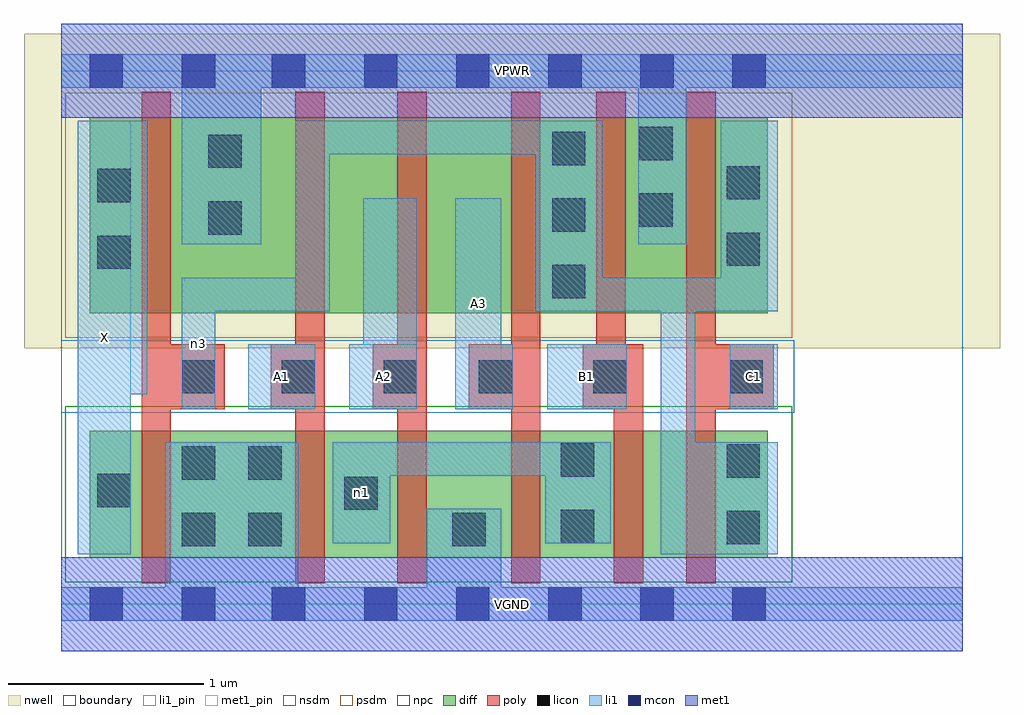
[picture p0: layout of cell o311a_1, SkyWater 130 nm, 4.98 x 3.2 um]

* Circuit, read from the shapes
.subckt o311a_1 A1 A2 A3 B1 C1 VGND VPWR X n1 n3
XM1 VGND n3 X VSUBS sky130_fd_pr__nfet_01v8 w=0.65 l=0.15
XM2 n1 A1 VGND VSUBS sky130_fd_pr__nfet_01v8 w=0.65 l=0.15
XM3 VGND A2 n1 VSUBS sky130_fd_pr__nfet_01v8 w=0.65 l=0.15
XM4 n1 A3 VGND VSUBS sky130_fd_pr__nfet_01v8 w=0.65 l=0.15
XM5 n2 B1 n1 VSUBS sky130_fd_pr__nfet_01v8 w=0.65 l=0.15
XM6 n3 C1 n2 VSUBS sky130_fd_pr__nfet_01v8 w=0.65 l=0.15
XM7 VPWR n3 X n4 sky130_fd_pr__pfet_01v8 w=1 l=0.15
XM8 n5 A1 VPWR n4 sky130_fd_pr__pfet_01v8 w=1 l=0.15
XM9 n6 A2 n5 n4 sky130_fd_pr__pfet_01v8 w=1 l=0.15
XM10 n3 A3 n6 n4 sky130_fd_pr__pfet_01v8 w=1 l=0.15
XM11 VPWR B1 n3 n4 sky130_fd_pr__pfet_01v8 w=1 l=0.15
XM12 n3 C1 VPWR n4 sky130_fd_pr__pfet_01v8 w=1 l=0.15
.ends

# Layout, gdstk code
import gdstk
lib = gdstk.Library(unit=1e-6, precision=1e-09)
def R(c, l, rs):  # rectangles x0, y0, x1, y1
    for r in rs: c.add(gdstk.rectangle(r[:2], r[2:], *l))
def A(c, l, x, y, w, h, nx, ny, dx, dy):  # array of equal rectangles
    R(c, l, [(x+i*dx, y+j*dy, x+i*dx+w, y+j*dy+h) for i in range(nx) for j in range(ny)])
nwell = (64, 20)
diff = (65, 20)
poly = (66, 20)
licon = (66, 44)
li1_pin = (67, 16)
li1 = (67, 20)
mcon = (67, 44)
met1_pin = (68, 16)
met1 = (68, 20)
nsdm = (93, 44)
psdm = (94, 20)
npc = (95, 20)
boundary = (235, 4)

o311a_1 = lib.new_cell('o311a_1')
R(o311a_1, nwell, [(-0.19,1.305,4.79,2.91), (0,1.305,4.6,2.91)])
R(o311a_1, diff, [(0.145,0.235,3.605,0.885), (0.145,1.485,3.605,2.485)])
R(o311a_1, poly, [(0.41,0.105,0.56,2.615), (1.195,0.105,1.345,2.615), (1.715,0.105,1.865,2.615), (2.295,0.105,2.445,2.615), (2.82,0.105,2.97,1.325), (3.19,0.105,3.34,2.615), (0.41,0.995,0.835,1.325), (1.07,0.995,1.345,1.325), (1.59,0.995,1.865,1.325), (2.08,0.995,2.445,1.325), (2.66,0.995,2.97,1.325), (2.73,0.995,2.88,2.615), (3.19,0.995,3.635,1.325)])
A(o311a_1, licon, 2.505, 1.56, 0.17, 0.17, 1, 3, 0, 0.34)
R(o311a_1, licon, [(0.615,0.295,0.785,0.465), (0.955,0.295,1.125,0.465), (1.995,0.295,2.165,0.465), (3.395,0.305,3.565,0.475), (2.55,0.31,2.72,0.48), (1.445,0.48,1.615,0.65), (0.185,0.495,0.355,0.665), (0.615,0.635,0.785,0.805), (0.955,0.635,1.125,0.805), (3.395,0.645,3.565,0.815), (2.55,0.65,2.72,0.82), (0.615,1.075,0.785,1.245), (1.125,1.075,1.295,1.245), (1.645,1.075,1.815,1.245), (2.13,1.075,2.3,1.245), (2.715,1.075,2.885,1.245), (3.41,1.075,3.58,1.245), (0.185,1.71,0.355,1.88), (3.395,1.725,3.565,1.895), (0.75,1.885,0.92,2.055), (2.95,1.925,3.12,2.095), (0.185,2.05,0.355,2.22), (3.395,2.065,3.565,2.235), (0.75,2.225,0.92,2.395), (2.95,2.265,3.12,2.435)])
R(o311a_1, li1_pin, [(0.085,0.255,0.355,2.465), (0.955,0.995,1.295,1.325), (1.47,0.995,1.815,1.325), (2.01,0.995,2.245,2.07), (2.48,0.995,2.885,1.325), (3.41,0.995,3.655,1.325)])
R(o311a_1, li1, [(0,-0.085,4.6,0.085), (0.53,-0.085,1.21,0.825), (1.865,-0.085,2.245,0.485), (0.085,0.255,0.355,2.465), (3.06,0.255,3.655,0.825), (3.06,0.255,3.235,1.665), (1.385,0.31,1.68,0.825), (2.47,0.31,2.805,0.825), (1.385,0.655,2.805,0.825), (0.615,0.995,0.785,1.665), (0.955,0.995,1.295,1.325), (1.47,0.995,1.815,1.325), (1.54,0.995,1.815,2.07), (2.01,0.995,2.245,2.07), (2.01,0.995,2.305,1.325), (2.48,0.995,2.885,1.325), (3.41,0.995,3.655,1.325), (0.085,1.07,0.44,2.465), (0.615,1.495,1.37,1.665), (1.195,1.495,1.37,2.465), (2.42,1.495,2.76,2.465), (2.42,1.495,3.655,1.665), (3.365,1.495,3.655,2.465), (0.615,1.835,1.02,2.805), (2.945,1.835,3.19,2.805), (1.195,2.295,2.76,2.465), (0,2.635,4.6,2.805)])
A(o311a_1, mcon, 1.075, -0.085, 0.17, 0.17, 6, 2, 0.47, 2.72)
R(o311a_1, mcon, [(0.145,-0.085,0.315,0.085), (0.615,-0.085,0.785,0.085), (0.145,2.635,0.315,2.805), (0.615,2.635,0.785,2.805)])
R(o311a_1, met1_pin, [(0,-0.24,4.6,0.24), (0,2.48,4.6,2.96)])
R(o311a_1, met1, [(0,-0.24,4.6,0.24), (0,2.48,4.6,2.96)])
R(o311a_1, nsdm, [(0.02,0.11,3.73,1.01)])
R(o311a_1, psdm, [(0.02,1.36,3.73,2.61)])
R(o311a_1, npc, [(0,0.975,3.74,1.345)])
R(o311a_1, boundary, [(0,0,4.6,2.72)])
o311a_1.add(gdstk.Label('A1', (1.125,1.16), layer=67, texttype=5))
o311a_1.add(gdstk.Label('A2', (1.642,1.16), layer=67, texttype=5))
o311a_1.add(gdstk.Label('A3', (2.127,1.532), layer=67, texttype=5))
o311a_1.add(gdstk.Label('B1', (2.682,1.16), layer=67, texttype=5))
o311a_1.add(gdstk.Label('C1', (3.532,1.16), layer=67, texttype=5))
o311a_1.add(gdstk.Label('X', (0.22,1.36), layer=67, texttype=5))
o311a_1.add(gdstk.Label('n1', (1.532,0.567), layer=67, texttype=5))
o311a_1.add(gdstk.Label('n3', (0.7,1.33), layer=67, texttype=5))
o311a_1.add(gdstk.Label('VPWR', (2.3,2.72), layer=68, texttype=5))
o311a_1.add(gdstk.Label('VGND', (2.3,0), layer=68, texttype=5))
o311a_1.add(gdstk.Label('A1', (1.125,1.16), layer=67, texttype=16))
o311a_1.add(gdstk.Label('A2', (1.642,1.16), layer=67, texttype=16))
o311a_1.add(gdstk.Label('A3', (2.127,1.532), layer=67, texttype=16))
o311a_1.add(gdstk.Label('B1', (2.682,1.16), layer=67, texttype=16))
o311a_1.add(gdstk.Label('C1', (3.532,1.16), layer=67, texttype=16))
o311a_1.add(gdstk.Label('X', (0.22,1.36), layer=67, texttype=16))
o311a_1.add(gdstk.Label('VPWR', (2.3,2.72), layer=68, texttype=16))
o311a_1.add(gdstk.Label('VGND', (2.3,0), layer=68, texttype=16))

lib.write_gds('o311a_1.gds')
